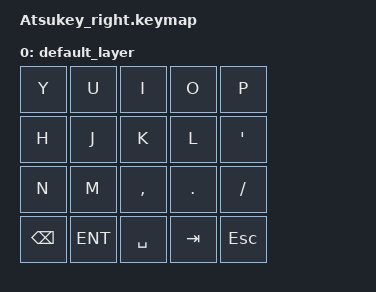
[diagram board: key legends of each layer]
#include <behaviors.dtsi>
#include <dt-bindings/zmk/keys.h>

/ {
    keymap {
        compatible = "zmk,keymap";

        default_layer {
            bindings = <
                &kp Y   &kp U   &kp I   &kp O   &kp P
                &kp H   &kp J   &kp K   &kp L   &kp APOS
                &kp N   &kp M   &kp COMMA &kp DOT &kp SLASH
                &kp BSPC &kp ENT &kp SPC  &kp TAB  &kp ESC
            >;
        };
    };
};
